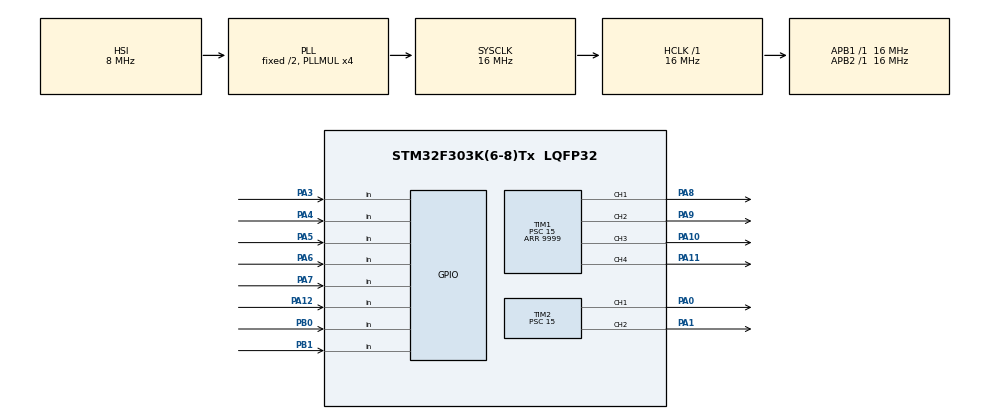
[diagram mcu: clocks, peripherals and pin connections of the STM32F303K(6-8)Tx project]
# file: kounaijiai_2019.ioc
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Mcu.Family=STM32F3
Mcu.Name=STM32F303K(6-8)Tx
Mcu.Package=LQFP32
NVIC.PriorityGroup=NVIC_PRIORITYGROUP_4
PA0.Signal=S_TIM2_CH1_ETR
PA1.Signal=S_TIM2_CH2
PA10.Signal=S_TIM1_CH3
PA11.Signal=S_TIM1_CH4
PA12.Signal=GPIO_Input
PA13.Mode=Serial_Wire
PA13.Signal=SYS_JTMS-SWDIO
PA14.Mode=Serial_Wire
PA14.Signal=SYS_JTCK-SWCLK
PA3.Signal=GPIO_Input
PA4.Signal=GPIO_Input
PA5.Signal=GPIO_Input
PA6.Signal=GPIO_Input
PA7.Signal=GPIO_Input
PA8.Signal=S_TIM1_CH1
PA9.Signal=S_TIM1_CH2
PB0.Signal=GPIO_Input
PB1.Signal=GPIO_Input
PF0\ /\ OSC_IN.Mode=HSE-External-Clock-Source
PF0\ /\ OSC_IN.Signal=RCC_OSC_IN
ProjectManager.HeapSize=0x200
ProjectManager.StackSize=0x400
ProjectManager.TargetToolchain=STM32CubeIDE
RCC.AHBFreq_Value=16000000
RCC.APB1Freq_Value=16000000
RCC.APB1TimFreq_Value=16000000
RCC.APB2Freq_Value=16000000
RCC.APB2TimFreq_Value=16000000
RCC.CortexFreq_Value=16000000
RCC.HCLKFreq_Value=16000000
RCC.HSE_VALUE=8000000
RCC.HSI_VALUE=8000000
RCC.PLLMUL=RCC_PLL_MUL4
RCC.SYSCLKFreq_VALUE=16000000
RCC.SYSCLKSourceVirtual=RCC_SYSCLKSOURCE_PLLCLK
SH.S_TIM1_CH1.0=TIM1_CH1,PWM Generation1 CH1
SH.S_TIM1_CH2.0=TIM1_CH2,PWM Generation2 CH2
SH.S_TIM1_CH3.0=TIM1_CH3,PWM Generation3 CH3
SH.S_TIM1_CH4.0=TIM1_CH4,PWM Generation4 CH4
SH.S_TIM2_CH1_ETR.0=TIM2_CH1,PWM Generation1 CH1
SH.S_TIM2_CH2.0=TIM2_CH2,PWM Generation2 CH2
TIM1.Channel-PWM\ Generation1\ CH1=TIM_CHANNEL_1
TIM1.Channel-PWM\ Generation2\ CH2=TIM_CHANNEL_2
TIM1.Channel-PWM\ Generation3\ CH3=TIM_CHANNEL_3
TIM1.Channel-PWM\ Generation4\ CH4=TIM_CHANNEL_4
TIM1.Period=9999
TIM1.Prescaler=15
TIM2.Channel-PWM\ Generation1\ CH1=TIM_CHANNEL_1
TIM2.Channel-PWM\ Generation2\ CH2=TIM_CHANNEL_2
TIM2.Period=9999
TIM2.Prescaler=15
VP_TIM1_VS_ClockSourceINT.Mode=Internal
VP_TIM2_VS_ClockSourceINT.Mode=Internal
board=custom

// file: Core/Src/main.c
/* USER CODE BEGIN Header */
/**
  ******************************************************************************
  * @file           : main.c
  * @brief          : Main program body
  ******************************************************************************
  * @attention
  *
  * <h2><center>&copy; Copyright (c) 2020 STMicroelectronics.
  * All rights reserved.</center></h2>
  *
  * This software component is licensed by ST under BSD 3-Clause license,
  * the "License"; You may not use this file except in compliance with the
  * License. You may obtain a copy of the License at:
  *                        opensource.org/licenses/BSD-3-Clause
  *
  ******************************************************************************
  */
/* USER CODE END Header */

#include "main.h"
#include "stm32f3xx_hal.h"

TIM_HandleTypeDef htim1;
TIM_HandleTypeDef htim2;

void SystemClock_Config(void);
static void MX_GPIO_Init(void);
static void MX_TIM1_Init(void);
static void MX_TIM2_Init(void);
void HAL_TIM_MspPostInit(TIM_HandleTypeDef *htim);

/* USER CODE BEGIN 0 */

long map(long x, long in_min, long in_max, long out_min, long out_max)//値の�?囲の変換関数
{
  return (x - in_min) * (out_max - out_min) / (in_max - in_min) + out_min;
}

void motor1(int dire,int duty)//右モーター
{
	if(dire==0){
		__HAL_TIM_SET_COMPARE(&htim1,TIM_CHANNEL_1,9999-map(duty,0,100,0,9999));
		if (HAL_TIM_PWM_Start(&htim1, TIM_CHANNEL_1) != HAL_OK)
				   					{
				   						Error_Handler();
				   					 }

			}

	else if (dire==1){
		__HAL_TIM_SET_COMPARE(&htim1,TIM_CHANNEL_2,9999-map(duty,0,100,0,9999));

			   		if (HAL_TIM_PWM_Start(&htim1, TIM_CHANNEL_2) != HAL_OK)
			   			   			{
			   							Error_Handler();
			   			   			 }
					}
	else if(dire==2)
			{
		__HAL_TIM_SET_COMPARE(&htim1,TIM_CHANNEL_1,9999-map(0,0,100,0,9999));
		__HAL_TIM_SET_COMPARE(&htim1,TIM_CHANNEL_2,9999-map(0,0,100,0,9999));
			}

}

void motor3(int dire,int duty)//左モーター
{
	if(dire==0){

		__HAL_TIM_SET_COMPARE(&htim1,TIM_CHANNEL_3,9999-map(duty,0,100,0,9999));
				   	if (HAL_TIM_PWM_Start(&htim1, TIM_CHANNEL_3) != HAL_OK)
				   					{
				   						Error_Handler();
				   					 }

				}

	else if(dire==1){

		__HAL_TIM_SET_COMPARE(&htim1,TIM_CHANNEL_4,9999-map(duty,0,100,0,9999));
				   		if (HAL_TIM_PWM_Start(&htim1, TIM_CHANNEL_4) != HAL_OK)
				   			   			{
				   							Error_Handler();
				   			   			 }

					}
	else if(dire==2)
		{
		    __HAL_TIM_SET_COMPARE(&htim1,TIM_CHANNEL_3,9999-map(0,0,100,0,9999));
			__HAL_TIM_SET_COMPARE(&htim1,TIM_CHANNEL_4,9999-map(0,0,100,0,9999));
		}

}

void motor2(int dire,int duty)//第三モーター
{
	if(dire==0){
		__HAL_TIM_SET_COMPARE(&htim2,TIM_CHANNEL_1,9999-map(duty,0,100,0,9999));
			   			    if (HAL_TIM_PWM_Start(&htim2, TIM_CHANNEL_1) != HAL_OK)
			   			   			{
			   			   			 Error_Handler();
			   			   		    }

					}
	else if(dire==1){
		__HAL_TIM_SET_COMPARE(&htim2,TIM_CHANNEL_2,9999-map(duty,0,100,0,9999));
					   			    if (HAL_TIM_PWM_Start(&htim2, TIM_CHANNEL_2) != HAL_OK)
					   			   			{
					   			   			 Error_Handler();
					   			   		    }

	               }
	else if(dire==2)
	{
		__HAL_TIM_SET_COMPARE(&htim2,TIM_CHANNEL_2,9999-map(0,0,100,0,9999));
		__HAL_TIM_SET_COMPARE(&htim2,TIM_CHANNEL_1,9999-map(0,0,100,0,9999));
	}

}
inline int SW1()
{
return 	HAL_GPIO_ReadPin(GPIOA,GPIO_PIN_6);
}

inline int SW2()
{
return 	HAL_GPIO_ReadPin(GPIOA,GPIO_PIN_5);
}

inline int SW3()
{
return 	HAL_GPIO_ReadPin(GPIOA,GPIO_PIN_3);
}

inline int SW4()
{
return 	HAL_GPIO_ReadPin(GPIOA,GPIO_PIN_4);
}

inline int SW5()
{
return 	HAL_GPIO_ReadPin(GPIOA,GPIO_PIN_7);
}

inline int SW6()
{
return 	HAL_GPIO_ReadPin(GPIOB,GPIO_PIN_0);
}

inline int SW7()
{
return 	HAL_GPIO_ReadPin(GPIOA,GPIO_PIN_12);
}

inline int SW8()
{
return 	HAL_GPIO_ReadPin(GPIOB,GPIO_PIN_1);
}

/* USER CODE END 0 */

int main(void)
{

  /* MCU Configuration--------------------------------------------------------*/

  /* Reset of all peripherals, Initializes the Flash interface and the Systick. */
  HAL_Init();

  /* Configure the system clock */
  SystemClock_Config();

  /* Initialize all configured peripherals */
  MX_GPIO_Init();
  MX_TIM1_Init();
  MX_TIM2_Init();

  /* Infinite loop */
  /* USER CODE BEGIN WHILE */
  	  while (1)
  	  {

	  switch(SW1()){
	  case 0 : motor2(1,20);break;
	  case 1 : motor2(2,0);break;
	  }
	  switch(SW2()){
	  case 0 : motor1(0,20);;break;
	  case 1 : motor1(2,0);break;
	  }
	  switch(SW3()){
	  case 0 : motor1(1,20);break;
	  case 1 : motor1(2,0);break;
	  }
	  switch(SW4()){
	  case 0 : motor1(1,20);break;
	  case 1 : motor1(2,0);break;
	  }
	  switch(SW5()){
	  case 0 : motor1(1,20);break;
	  case 1 : motor1(2,0);break;
	  }
	  switch(SW6()){
	  case 0 : motor3(0,20);break;
	  case 1 : motor3(2,0);break;
	  }
	  switch(SW7()){
	  case 0 : motor2(0,20);break;
	  case 1 : motor2(2,0);break;
	  }
	  switch(SW8()){
	  case 0 : motor3(1,20);break;
	  case 1 : motor3(2,0);break;
	  }
	  HAL_Delay(10);

	 //motor1の挙動 ?��?右
	 	/*  if(SW4()==0)
	 	  	  {
	 	  		  //printf("sw4\n");
	 	  		 motor1(1,20);
	 	  	  }
	 	  	  else if(SW2()==0)
	 	  	 	  {
	 	  	 		//  printf("sw2\n");
	 	  	 		  motor1(0,20);
	 	  	 	  }
	 	  	  else
	 	  	  {
	 	  		  motor1(2,0);
	 	  	  }

	 	  	//motor3挙動 左
	 	  	   if(SW8()==0)
	 	  	  {

	 	  		  motor3(1,20);
	 	  	  }

	 	  	   else if(SW6()==0)
	 	  	 	  {
	 	  	 		  motor3(0,20);
	 	  	 	  }
	 	  	   else{
	 	  		   motor3(2,0);
	 	  	   }

	 	  	//motor2挙動 a-m
	 	  	   if(SW1()==0)
	 	  	  {
	 	  		motor2(1,20);
	 	  	  }

	 	  	   else if(SW7()==0)
	 	  	  {
	 	  		  motor2(0,20);
	 	  	  }
	 	  	   else{
	 	  		   motor2(2,0);
	 	  	   }
*/
  	  }

    /* USER CODE END WHILE */

}

void SystemClock_Config(void)
{
  RCC_OscInitTypeDef RCC_OscInitStruct = {0};
  RCC_ClkInitTypeDef RCC_ClkInitStruct = {0};
  RCC_PeriphCLKInitTypeDef PeriphClkInit = {0};

  /** Initializes the CPU, AHB and APB busses clocks
  */
  RCC_OscInitStruct.OscillatorType = RCC_OSCILLATORTYPE_HSI;
  RCC_OscInitStruct.HSIState = RCC_HSI_ON;
  RCC_OscInitStruct.HSICalibrationValue = RCC_HSICALIBRATION_DEFAULT;
  RCC_OscInitStruct.PLL.PLLState = RCC_PLL_ON;
  RCC_OscInitStruct.PLL.PLLSource = RCC_PLLSOURCE_HSI;
  RCC_OscInitStruct.PLL.PLLMUL = RCC_PLL_MUL4;
  if (HAL_RCC_OscConfig(&RCC_OscInitStruct) != HAL_OK)
  {
    Error_Handler();
  }
  /** Initializes the CPU, AHB and APB busses clocks
  */
  RCC_ClkInitStruct.ClockType = RCC_CLOCKTYPE_HCLK|RCC_CLOCKTYPE_SYSCLK
                              |RCC_CLOCKTYPE_PCLK1|RCC_CLOCKTYPE_PCLK2;
  RCC_ClkInitStruct.SYSCLKSource = RCC_SYSCLKSOURCE_PLLCLK;
  RCC_ClkInitStruct.AHBCLKDivider = RCC_SYSCLK_DIV1;
  RCC_ClkInitStruct.APB1CLKDivider = RCC_HCLK_DIV1;
  RCC_ClkInitStruct.APB2CLKDivider = RCC_HCLK_DIV1;

  if (HAL_RCC_ClockConfig(&RCC_ClkInitStruct, FLASH_LATENCY_0) != HAL_OK)
  {
    Error_Handler();
  }
  PeriphClkInit.PeriphClockSelection = RCC_PERIPHCLK_TIM1;
  PeriphClkInit.Tim1ClockSelection = RCC_TIM1CLK_HCLK;
  if (HAL_RCCEx_PeriphCLKConfig(&PeriphClkInit) != HAL_OK)
  {
    Error_Handler();
  }
}

static void MX_TIM1_Init(void)
{

  TIM_ClockConfigTypeDef sClockSourceConfig = {0};
  TIM_MasterConfigTypeDef sMasterConfig = {0};
  TIM_OC_InitTypeDef sConfigOC = {0};
  TIM_BreakDeadTimeConfigTypeDef sBreakDeadTimeConfig = {0};

  htim1.Instance = TIM1;
  htim1.Init.Prescaler = 15;
  htim1.Init.CounterMode = TIM_COUNTERMODE_UP;
  htim1.Init.Period = 9999;
  htim1.Init.ClockDivision = TIM_CLOCKDIVISION_DIV1;
  htim1.Init.RepetitionCounter = 0;
  htim1.Init.AutoReloadPreload = TIM_AUTORELOAD_PRELOAD_DISABLE;
  if (HAL_TIM_Base_Init(&htim1) != HAL_OK)
  {
    Error_Handler();
  }
  sClockSourceConfig.ClockSource = TIM_CLOCKSOURCE_INTERNAL;
  if (HAL_TIM_ConfigClockSource(&htim1, &sClockSourceConfig) != HAL_OK)
  {
    Error_Handler();
  }
  if (HAL_TIM_PWM_Init(&htim1) != HAL_OK)
  {
    Error_Handler();
  }
  sMasterConfig.MasterOutputTrigger = TIM_TRGO_RESET;
  sMasterConfig.MasterOutputTrigger2 = TIM_TRGO2_RESET;
  sMasterConfig.MasterSlaveMode = TIM_MASTERSLAVEMODE_DISABLE;
  if (HAL_TIMEx_MasterConfigSynchronization(&htim1, &sMasterConfig) != HAL_OK)
  {
    Error_Handler();
  }
  sConfigOC.OCMode = TIM_OCMODE_PWM1;
  sConfigOC.Pulse = 0;
  sConfigOC.OCPolarity = TIM_OCPOLARITY_HIGH;
  sConfigOC.OCNPolarity = TIM_OCNPOLARITY_HIGH;
  sConfigOC.OCFastMode = TIM_OCFAST_DISABLE;
  sConfigOC.OCIdleState = TIM_OCIDLESTATE_RESET;
  sConfigOC.OCNIdleState = TIM_OCNIDLESTATE_RESET;
  if (HAL_TIM_PWM_ConfigChannel(&htim1, &sConfigOC, TIM_CHANNEL_1) != HAL_OK)
  {
    Error_Handler();
  }
  if (HAL_TIM_PWM_ConfigChannel(&htim1, &sConfigOC, TIM_CHANNEL_2) != HAL_OK)
  {
    Error_Handler();
  }
  if (HAL_TIM_PWM_ConfigChannel(&htim1, &sConfigOC, TIM_CHANNEL_3) != HAL_OK)
  {
    Error_Handler();
  }
  if (HAL_TIM_PWM_ConfigChannel(&htim1, &sConfigOC, TIM_CHANNEL_4) != HAL_OK)
  {
    Error_Handler();
  }
  sBreakDeadTimeConfig.OffStateRunMode = TIM_OSSR_DISABLE;
  sBreakDeadTimeConfig.OffStateIDLEMode = TIM_OSSI_DISABLE;
  sBreakDeadTimeConfig.LockLevel = TIM_LOCKLEVEL_OFF;
  sBreakDeadTimeConfig.DeadTime = 0;
  sBreakDeadTimeConfig.BreakState = TIM_BREAK_DISABLE;
  sBreakDeadTimeConfig.BreakPolarity = TIM_BREAKPOLARITY_HIGH;
  sBreakDeadTimeConfig.BreakFilter = 0;
  sBreakDeadTimeConfig.Break2State = TIM_BREAK2_DISABLE;
  sBreakDeadTimeConfig.Break2Polarity = TIM_BREAK2POLARITY_HIGH;
  sBreakDeadTimeConfig.Break2Filter = 0;
  sBreakDeadTimeConfig.AutomaticOutput = TIM_AUTOMATICOUTPUT_DISABLE;
  if (HAL_TIMEx_ConfigBreakDeadTime(&htim1, &sBreakDeadTimeConfig) != HAL_OK)
  {
    Error_Handler();
  }
  HAL_TIM_MspPostInit(&htim1);

}

static void MX_TIM2_Init(void)
{

  TIM_ClockConfigTypeDef sClockSourceConfig = {0};
  TIM_MasterConfigTypeDef sMasterConfig = {0};
  TIM_OC_InitTypeDef sConfigOC = {0};

  htim2.Instance = TIM2;
  htim2.Init.Prescaler = 15;
  htim2.Init.CounterMode = TIM_COUNTERMODE_UP;
  htim2.Init.Period = 9999;
  htim2.Init.ClockDivision = TIM_CLOCKDIVISION_DIV1;
  htim2.Init.AutoReloadPreload = TIM_AUTORELOAD_PRELOAD_DISABLE;
  if (HAL_TIM_Base_Init(&htim2) != HAL_OK)
  {
    Error_Handler();
  }
  sClockSourceConfig.ClockSource = TIM_CLOCKSOURCE_INTERNAL;
  if (HAL_TIM_ConfigClockSource(&htim2, &sClockSourceConfig) != HAL_OK)
  {
    Error_Handler();
  }
  if (HAL_TIM_PWM_Init(&htim2) != HAL_OK)
  {
    Error_Handler();
  }
  sMasterConfig.MasterOutputTrigger = TIM_TRGO_RESET;
  sMasterConfig.MasterSlaveMode = TIM_MASTERSLAVEMODE_DISABLE;
  if (HAL_TIMEx_MasterConfigSynchronization(&htim2, &sMasterConfig) != HAL_OK)
  {
    Error_Handler();
  }
  sConfigOC.OCMode = TIM_OCMODE_PWM1;
  sConfigOC.Pulse = 0;
  sConfigOC.OCPolarity = TIM_OCPOLARITY_HIGH;
  sConfigOC.OCFastMode = TIM_OCFAST_DISABLE;
  if (HAL_TIM_PWM_ConfigChannel(&htim2, &sConfigOC, TIM_CHANNEL_1) != HAL_OK)
  {
    Error_Handler();
  }
  if (HAL_TIM_PWM_ConfigChannel(&htim2, &sConfigOC, TIM_CHANNEL_2) != HAL_OK)
  {
    Error_Handler();
  }
  HAL_TIM_MspPostInit(&htim2);

}

static void MX_GPIO_Init(void)
{
  GPIO_InitTypeDef GPIO_InitStruct = {0};

  /* GPIO Ports Clock Enable */
  __HAL_RCC_GPIOF_CLK_ENABLE();
  __HAL_RCC_GPIOA_CLK_ENABLE();
  __HAL_RCC_GPIOB_CLK_ENABLE();

  /*Configure GPIO pins : PA3 PA4 PA5 PA6
                           PA7 PA12 */
  GPIO_InitStruct.Pin = GPIO_PIN_3|GPIO_PIN_4|GPIO_PIN_5|GPIO_PIN_6
                          |GPIO_PIN_7|GPIO_PIN_12;
  GPIO_InitStruct.Mode = GPIO_MODE_INPUT;
  GPIO_InitStruct.Pull = GPIO_NOPULL;
  HAL_GPIO_Init(GPIOA, &GPIO_InitStruct);

  /*Configure GPIO pins : PB0 PB1 */
  GPIO_InitStruct.Pin = GPIO_PIN_0|GPIO_PIN_1;
  GPIO_InitStruct.Mode = GPIO_MODE_INPUT;
  GPIO_InitStruct.Pull = GPIO_NOPULL;
  HAL_GPIO_Init(GPIOB, &GPIO_InitStruct);

}

void Error_Handler(void)
{
}

/************************ (C) COPYRIGHT STMicroelectronics *****END OF FILE****/
